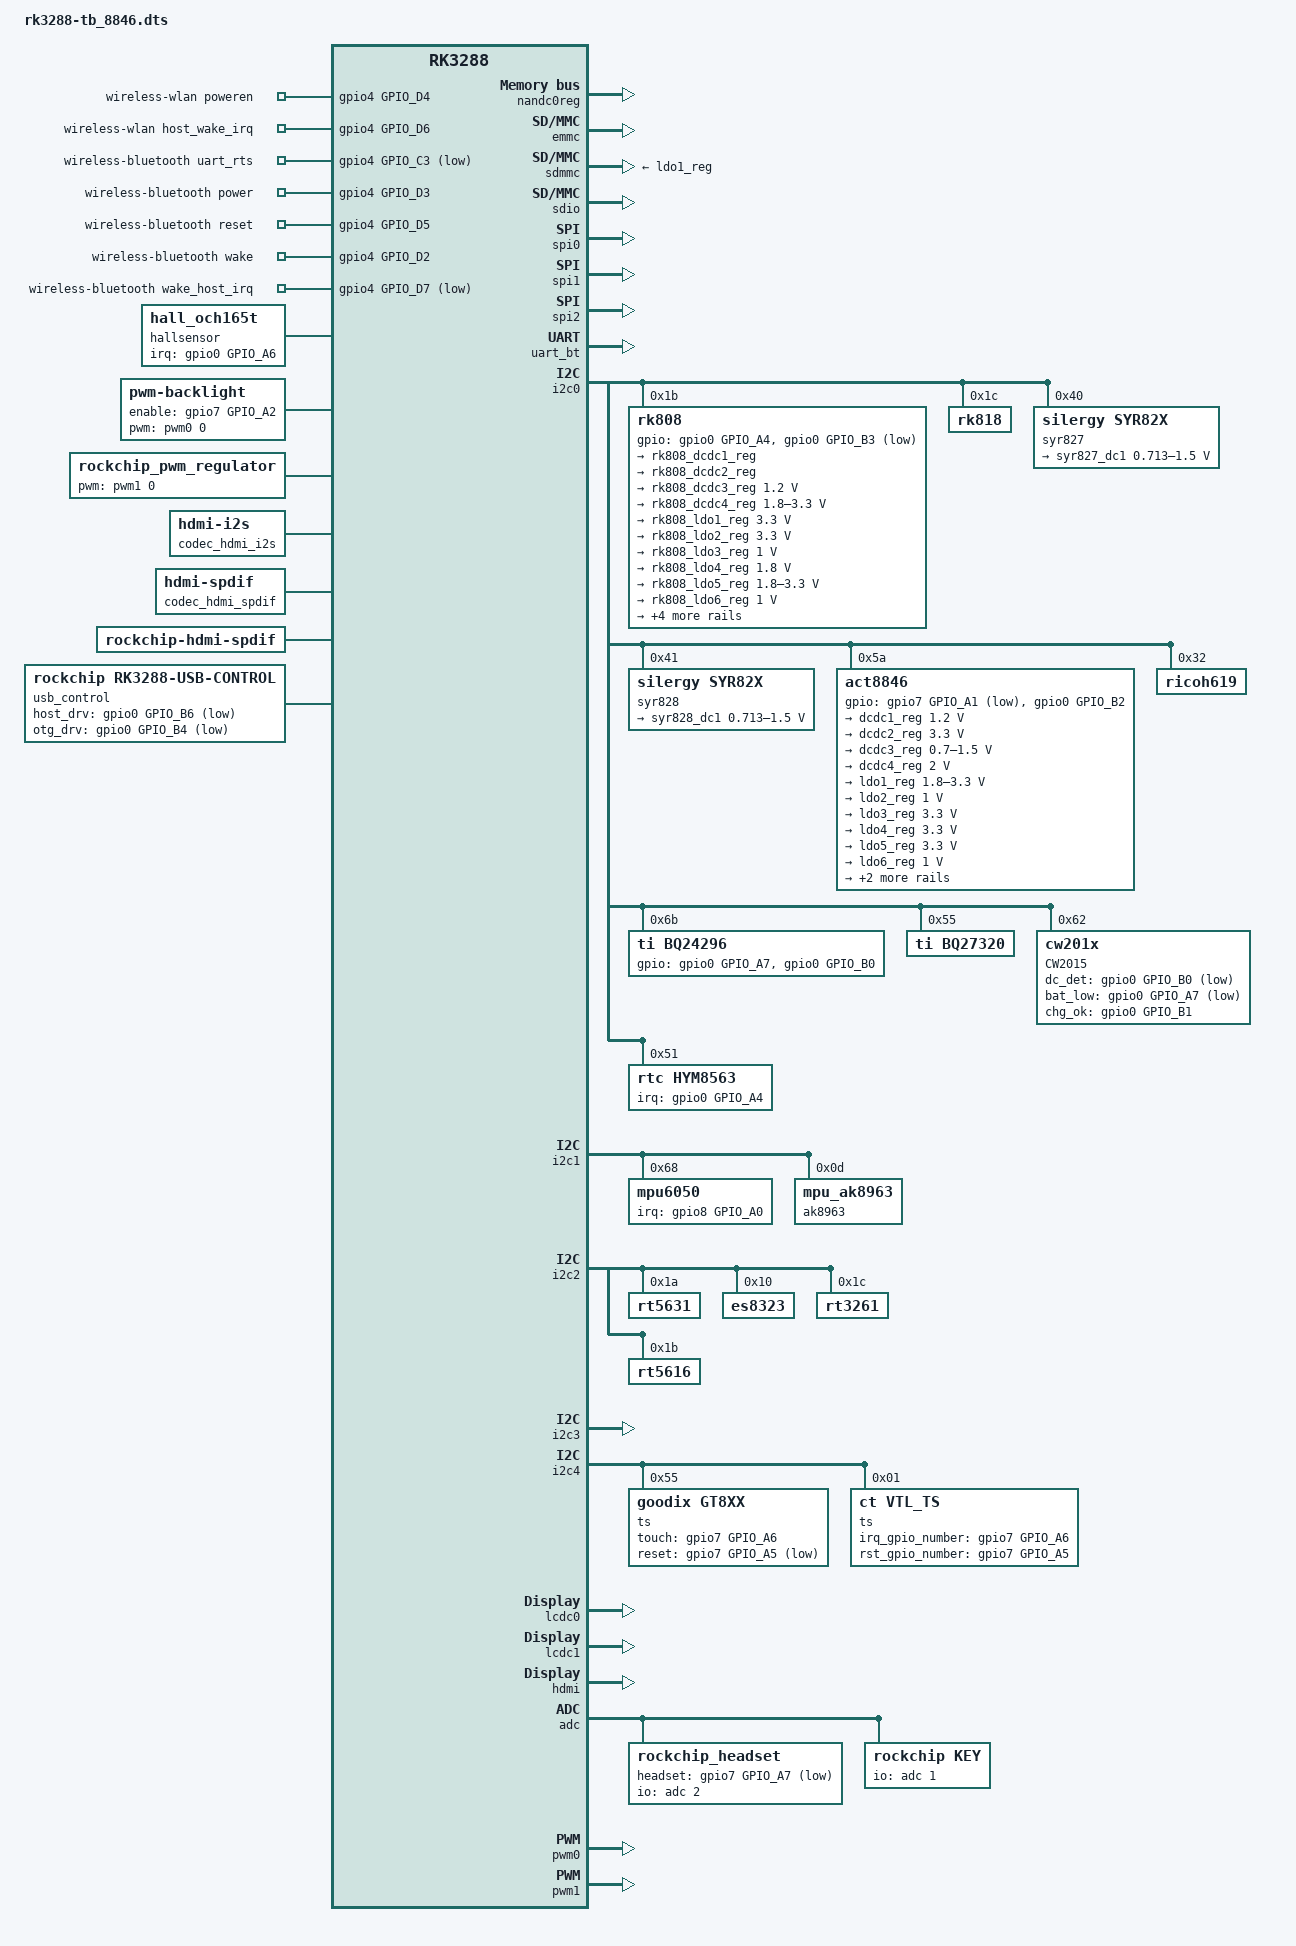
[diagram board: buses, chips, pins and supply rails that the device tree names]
/dts-v1/;

#include "rk3288.dtsi"
//#include "lcd-b101ew05.dtsi"
#include "lcd-F402.dtsi"
/ {
	fiq-debugger {
		status = "okay";
	};

    wireless-wlan {
        compatible = "wlan-platdata";

        wifi_chip_type = "";
        sdio_vref = <1800>; //1800mv or 3300mv

        //power_ctrl_by_pmu;
        power_pmu_regulator = "act_ldo3";
        power_pmu_enable_level = <1>; //1->HIGH, 0->LOW

        //vref_ctrl_enable;
        //vref_ctrl_gpio = <&gpio0 GPIO_A2 GPIO_ACTIVE_HIGH>;
        vref_pmu_regulator = "act_ldo3";
        vref_pmu_enable_level = <1>; //1->HIGH, 0->LOW

        WIFI,poweren_gpio = <&gpio4 GPIO_D4 GPIO_ACTIVE_HIGH>;
        WIFI,host_wake_irq = <&gpio4 GPIO_D6 GPIO_ACTIVE_HIGH>;
        //WIFI,reset_gpio = <&gpio0 GPIO_A2 GPIO_ACTIVE_LOW>;

        status = "okay";
    };

    wireless-bluetooth {
        compatible = "bluetooth-platdata";

        //wifi-bt-power-toggle;

        uart_rts_gpios = <&gpio4 GPIO_C3 GPIO_ACTIVE_LOW>;
        pinctrl-names = "default","rts_gpio";
        pinctrl-0 = <&uart0_rts>;
        pinctrl-1 = <&uart0_rts_gpio>;

        BT,power_gpio = <&gpio4 GPIO_D3 GPIO_ACTIVE_HIGH>;
        BT,reset_gpio = <&gpio4 GPIO_D5 GPIO_ACTIVE_HIGH>;
        BT,wake_gpio = <&gpio4 GPIO_D2 GPIO_ACTIVE_HIGH>;
        BT,wake_host_irq = <&gpio4 GPIO_D7 GPIO_ACTIVE_LOW>;

        status = "okay";
    };

    hallsensor {
               compatible = "hall_och165t";
               type = <SENSOR_TYPE_HALL>;
               irq-gpio = <&gpio0 GPIO_A6 IRQ_TYPE_EDGE_BOTH>;
     };

	backlight {
		compatible = "pwm-backlight";
		pwms = <&pwm0 0 25000>;
		brightness-levels = <255 254 253 252 251 250 249 248 247 246 245 244 243 242 241 240
		     239 238 237 236 235 234 233 232 231 230 229 228 227 226 225 224 223 222 221 220
		     219 218 217 216 215 214 213 212 211 210 209 208 207 206 205 204 203 202 201 200
		     199 198 197 196 195 194 193 192 191 190 189 188 187 186 185 184 183 182 181 180
		     179 178 177 176 175 174 173 172 171 170 169 168 167 166 165 164 163 162 161 160
		     159 158 157 156 155 154 153 152 151 150 149 148 147 146 145 144 143 142 141 140
		     139 138 137 136 135 134 133 132 131 130 129 128 127 126 125 124 123 122 121 120
		     119 118 117 116 115 114 113 112 111 110 109 108 107 106 105 104 103 102 101 100
		     99 98 97 96 95 94 93 92 91 90 89 88 87 86 85 84 83 82 81 80 79 78 77 76 75 74 73 72 71 70
		     69 68 67 66 65 64 63 62 61 60 59 58 57 56 55 54 53 52 51 50 49 48 47 46 45 44 43 42 41 40
		     39 38 37 36 35 34 33 32 31 30 29 28 27 26 25 24 23 22 21 20 19 18 17 16 15 14 13 12 11 10
		     9 8 7 6 5 4 3 2 1 0>;
		default-brightness-level = <200>;
		enable-gpios = <&gpio7 GPIO_A2 GPIO_ACTIVE_HIGH>;
	};

	pwm_regulator {
		compatible = "rockchip_pwm_regulator";
		pwms = <&pwm1 0 2000>;
		rockchip,pwm_id= <1>;
		rockchip,pwm_voltage_map= <925000 950000 975000 1000000 1025000 1050000 1075000 1100000 1125000 1150000 1175000 1200000 1225000 1250000 1275000 1300000 1325000 1350000 1375000 1400000>;
		rockchip,pwm_voltage= <1000000>;
		rockchip,pwm_min_voltage= <925000>;
		rockchip,pwm_max_voltage= <1400000>;
		rockchip,pwm_suspend_voltage= <950000>;
		rockchip,pwm_coefficient= <475>;
		regulators {
			#address-cells = <1>;
			#size-cells = <0>;
			pwm_reg0: regulator@0 {
				regulator-compatible = "pwm_dcdc1";
				regulator-name= "vdd_logic";
				regulator-min-microvolt = <925000>;
				regulator-max-microvolt = <1400000>;
				regulator-always-on;
				regulator-boot-on;
			};
		};
	};

	codec_hdmi_i2s: codec-hdmi-i2s {
		compatible = "hdmi-i2s";
	};

	codec_hdmi_spdif: codec-hdmi-spdif {
		compatible = "hdmi-spdif";
	};

	rockchip-hdmi-i2s {
		compatible = "rockchip-hdmi-i2s";
		dais {
			dai0 {
				audio-codec = <&codec_hdmi_i2s>;
				i2s-controller = <&i2s>;
				format = "i2s";
				//continuous-clock;
				//bitclock-inversion;
				//frame-inversion;
				//bitclock-master;
				//frame-master;
			};
		};
	};
	
	rockchip-hdmi-spdif {
		compatible = "rockchip-hdmi-spdif";
		dais {
			dai0 {
				audio-codec = <&codec_hdmi_spdif>;
				i2s-controller = <&spdif>;
			};
		};
	};

	rockchip-rt5631 {
		compatible = "rockchip-rt5631";
		dais {
			dai0 {
				audio-codec = <&rt5631>;
				i2s-controller = <&i2s>;
				format = "i2s";
				//continuous-clock;
				//bitclock-inversion;
				//frame-inversion;
				//bitclock-master;
				//frame-master;
			};
		};
	};

	rockchip-rt3224 {
		compatible = "rockchip-rt3261";
		dais {
			dai0 {
				audio-codec = <&rt3261>;
				i2s-controller = <&i2s>;
				format = "i2s";
				//continuous-clock;
				//bitclock-inversion;
				//frame-inversion;
				//bitclock-master;
				//frame-master;
			};
			dai1 {
				audio-codec = <&rt3261>;
				i2s-controller = <&i2s>;
				format = "dsp_a";
				//continuous-clock;
				bitclock-inversion;
				//frame-inversion;
				//bitclock-master;
				//frame-master;
			};
		};
	};

	usb_control {
		compatible = "rockchip,rk3288-usb-control";

		host_drv_gpio = <&gpio0 GPIO_B6 GPIO_ACTIVE_LOW>;
		otg_drv_gpio = <&gpio0 GPIO_B4 GPIO_ACTIVE_LOW>;

		rockchip,remote_wakeup;
		rockchip,usb_irq_wakeup;
	};
};

&gmac {
//	power_ctl_by = "gpio";	//"gpio" "pmu"
	power-gpio = <&gpio0 GPIO_A6 GPIO_ACTIVE_HIGH>;
//	power-pmu = "act_ldo"
//	reset-gpio = <&gpio4 GPIO_A7 GPIO_ACTIVE_LOW>;
};

&pinctrl {
	//used for init some gpio
	init-gpios = <&gpio0 GPIO_A6 GPIO_ACTIVE_HIGH
			/*&gpio0 GPIO_C2 GPIO_ACTIVE_HIGH */
			/*&gpio7 GPIO_B7 GPIO_ACTIVE_LOW */>;
	
	gpio0_gpio {
			gpio0_c2: gpio0-c2 {
				rockchip,pins = <GPIO0_C2>;
				rockchip,pull = <VALUE_PULL_DOWN>;
			};

			//to add
		};
		
	gpio7_gpio {
			gpio7_a7: gpio7-a7 {
				rockchip,pins = <GPIO7_A7>;
				rockchip,pull = <VALUE_PULL_DOWN>;
			};

			//to add
		};
		
	//could add other pinctrl definition such as gpio

};

&nandc0 {
	status = "disabled"; // used nand set "disabled" ,used emmc set "okay"
};
&nandc1 {
	status = "disabled"; // used nand set "disabled" ,used emmc set "okay"
};   

&nandc0reg {
	status = "okay"; // used nand set "disabled" ,used emmc set "okay"
};

&emmc {
	clock-frequency = <100000000>;
	clock-freq-min-max = <400000 100000000>;

        supports-highspeed;
	supports-emmc;
        bootpart-no-access;

	//supports-DDR_MODE; //you should set the two value in your project. only close in RK3288-SDK board.
	//caps2-mmc-hs200;

        ignore-pm-notify;
	keep-power-in-suspend;
	
	//poll-hw-reset 
	status = "okay";
};
    
&sdmmc {
		clock-frequency = <50000000>;
		clock-freq-min-max = <400000 50000000>;
		supports-highspeed;
		supports-sd;
		broken-cd;
		card-detect-delay = <200>;

		ignore-pm-notify;
        	keep-power-in-suspend;
	
        	vmmc-supply = <&ldo1_reg>;
		status = "okay";
};
		
&sdio {
		clock-frequency = <50000000>;
		clock-freq-min-max = <200000 50000000>;
		supports-highspeed;
		supports-sdio;
		ignore-pm-notify;
		keep-power-in-suspend;
		//cap-sdio-irq;
		status = "okay";
};

&spi0 {
	status = "okay";
	max-freq = <48000000>;	
	/*
	spi_test@00 {
     		compatible = "rockchip,spi_test_bus0_cs0";
                reg = <0>;
                spi-max-frequency = <24000000>;
                //spi-cpha;
		//spi-cpol;
                poll_mode = <0>;
	        type = <0>;
		enable_dma = <0>;

	};

	spi_test@01 {
	        compatible = "rockchip,spi_test_bus0_cs1";
	        reg = <1>;
	        spi-max-frequency = <24000000>;
	        spi-cpha;
		spi-cpol;
	        poll_mode = <0>;
	        type = <0>;
		enable_dma = <0>;	        
	};
	*/
};

&spi1 {
	status = "okay";
	max-freq = <48000000>;
	/*
	spi_test@10 {
	        compatible = "rockchip,spi_test_bus1_cs0";
	        reg = <0>;
	        spi-max-frequency = <24000000>;
	        //spi-cpha;
		//spi-cpol;
	        poll_mode = <0>;
	        type = <0>;
		enable_dma = <0>;
	};

	*/
};

&spi2 {
	status = "okay";
	max-freq = <48000000>;
	/*
	spi_test@20 {
	        compatible = "rockchip,spi_test_bus2_cs0";
	        reg = <0>;
	        spi-max-frequency = <24000000>;
	        //spi-cpha;
		//spi-cpol;
	        poll_mode = <0>;
	        type = <0>;
		enable_dma = <0>;
	};

	spi_test@21 {
	        compatible = "rockchip,spi_test_bus2_cs1";
	        reg = <1>;
	        spi-max-frequency = <24000000>;
	        //spi-cpha;
		//spi-cpol;
	        poll_mode = <0>;
	        type = <0>;
		enable_dma = <0>;
	};
	*/
};

&uart_bt {
        status = "okay";
        dma-names = "!tx", "!rx";
        pinctrl-0 = <&uart0_xfer &uart0_cts>;
};

&i2c0 {
	status = "okay";
	rk808: rk808@1b {
		reg = <0x1b>;
		status = "okay";
	};
	rk818: rk818@1c {
		reg = <0x1c>;
		status = "okay";
 	};
		syr827: syr827@40 {
		compatible = "silergy,syr82x";
  	reg = <0x40>;
		status = "okay";
		regulators {
			#address-cells = <1>;
			#size-cells = <0>;	
			syr827_dc1: regulator@0 {
			reg = <0>;
			regulator-compatible = "syr82x_dcdc1";
			regulator-name = "vdd_arm";
			regulator-min-microvolt = <712500>;
			regulator-max-microvolt = <1500000>;
			regulator-always-on;
			regulator-boot-on;
			regulator-initial-mode = <0x2>;
			regulator-initial-state = <3>;
			regulator-state-mem {
				regulator-state-mode = <0x2>;
				regulator-state-disabled;
				regulator-state-uv = <900000>;
			};
		};
	   };
	};
	syr828: syr828@41 {
		compatible = "silergy,syr82x";
		reg = <0x41>;
		status = "okay";
		regulators {
			#address-cells = <1>;
			#size-cells = <0>;	
			syr828_dc1: regulator@0 {
			reg = <0>;
			regulator-compatible = "syr82x_dcdc1";
			regulator-name = "vdd_gpu";
			regulator-min-microvolt = <712500>;
			regulator-max-microvolt = <1500000>;
			regulator-always-on;
  		regulator-boot-on;
			regulator-initial-mode = <0x2>;
			regulator-initial-state = <3>;
			regulator-state-mem {
				regulator-state-mode = <0x2>;
				regulator-state-enabled;
				regulator-state-uv = <900000>;
			};	
		};
	   };
	};
	act8846: act8846@5a {
		reg = <0x5a>;
		status = "okay";
	};

	ricoh619: ricoh619@32 {
		reg = <0x32>;
 		status = "okay";
 	};
	bq24296: bq24296@6b {
		compatible = "ti,bq24296";
		reg = <0x6b>;
		gpios = <&gpio0 GPIO_A7 GPIO_ACTIVE_HIGH>,<&gpio0 GPIO_B0 GPIO_ACTIVE_HIGH>;
		bq24296,chg_current = <1000 2000 3000>;
		status = "okay";
	};
	
	bq27320: bq27320@55 {
		compatible = "ti,bq27320";
		reg = <0x55>;
	/*   gpios = <&gpio0 GPIO_A7 GPIO_ACTIVE_HIGH>; */
		status = "okay";
	};

	CW2015@62 {
		compatible = "cw201x";
		reg = <0x62>;
		dc_det_gpio = <&gpio0 GPIO_B0 GPIO_ACTIVE_LOW>;
		bat_low_gpio = <&gpio0 GPIO_A7 GPIO_ACTIVE_LOW>;
		chg_ok_gpio = <&gpio0 GPIO_B1 GPIO_ACTIVE_HIGH>;
		bat_config_info = <0x15 0x42 0x60 0x59 0x52 0x58 0x4D 0x48 0x48 0x44 0x44 0x46 0x49 0x48 0x32
			0x24 0x20 0x17 0x13 0x0F 0x19 0x3E 0x51 0x45 0x08 0x76 0x0B 0x85 0x0E 0x1C 0x2E 0x3E 0x4D 0x52 0x52
			0x57 0x3D 0x1B 0x6A 0x2D 0x25 0x43 0x52 0x87 0x8F 0x91 0x94 0x52 0x82 0x8C 0x92 0x96 0xFF 0x7B 0xBB
			0xCB 0x2F 0x7D 0x72 0xA5 0xB5 0xC1 0x46 0xAE>;
		is_dc_charge = <1>;
		is_usb_charge = <0>;
	};
	
	rtc@51 {
		compatible = "rtc,hym8563";
		reg = <0x51>;
		irq_gpio = <&gpio0 GPIO_A4 IRQ_TYPE_EDGE_FALLING>;
	};

};

&i2c1 {
	status = "okay";
	 	
	mpu6050:mpu@68{
		compatible = "mpu6050";
		reg = <0x68>;
		mpu-int_config = <0x10>;
		mpu-level_shifter = <0>;
		mpu-orientation = <0 1 0 1 0 0 0 0 1>;	
		orientation-x= <0>;
		orientation-y= <1>;
		orientation-z= <1>;
		irq-gpio = <&gpio8 GPIO_A0 IRQ_TYPE_LEVEL_LOW>;			
		mpu-debug = <0>;
	};
	

	ak8963:compass@0d{
		compatible = "mpu_ak8963";
		reg = <0x0d>;
		compass-bus = <0>;
		compass-adapt_num = <0>;
		compass-orientation = <1 0 0 0 1 0 0 0 1>;
		orientation-x= <0>;
		orientation-y= <0>;
		orientation-z= <1>;	
		compass-debug = <1>;
		status = "okay";
	};	

};

&i2c2 {
	status = "okay";
	rt5631: rt5631@1a {
		compatible = "rt5631";
		reg = <0x1a>;
	};
	es8323: es8323@10 {
		compatible = "es8323";
		reg = <0x10>;
	};
	rt3261: rt3261@1c {
		compatible = "rt3261";
		reg = <0x1c>;
	//	codec-en-gpio = <0>;//sdk default high level
		spk-num= <2>;
		modem-input-mode = <1>;
		lout-to-modem_mode = <1>;
		spk-amplify = <2>;
		playback-if1-data_control = <0>;
		playback-if2-data_control = <0>;
	};
	rt5616: rt5616@1b {
		compatible = "rt5616";
		reg = <0x1b>;
	};
};

&i2c3 {
	status = "okay";
};

&i2c4 {
	status = "okay";
	ts@55 {
		compatible = "goodix,gt8xx";
		reg = <0x55>;
		touch-gpio = <&gpio7 GPIO_A6 IRQ_TYPE_LEVEL_LOW>;
		reset-gpio = <&gpio7 GPIO_A5 GPIO_ACTIVE_LOW>;
		//power-gpio = <&gpio0 GPIO_C5 GPIO_ACTIVE_LOW>;
		max-x = <1280>;
		max-y = <800>;
	};
	
	ts@01 {
		compatible = "ct,vtl_ts";
		reg = <0x01>;
		screen_max_x = <1536>;
		screen_max_y = <2048>;
		irq_gpio_number = <&gpio7 GPIO_A6 IRQ_TYPE_LEVEL_LOW>;
		rst_gpio_number = <&gpio7 GPIO_A5 GPIO_ACTIVE_HIGH>;
	};
};

&i2c5 {
	status = "disable";
};

&fb {
	rockchip,disp-mode = <DUAL>;
	rockchip,uboot-logo-on = <1>;
};

&rk_screen {
	 display-timings = <&disp_timings>;
};

/*lcdc0 as PRMRY(LCD),lcdc1 as EXTEND(HDMI)*/
&lcdc0 {
	status = "okay";
	rockchip,mirror = <NO_MIRROR>;
	rockchip,cabc_mode = <0>;
	power_ctr: power_ctr {
		rockchip,debug = <0>;
		lcd_en:lcd_en {
			rockchip,power_type = <GPIO>;
			gpios = <&gpio7 GPIO_A3 GPIO_ACTIVE_HIGH>;
			rockchip,delay = <10>;
		};
		
		lcd_cs:lcd_cs {
			rockchip,power_type = <GPIO>;
			gpios = <&gpio7 GPIO_A4 GPIO_ACTIVE_HIGH>;
			rockchip,delay = <10>;
		};

		/*lcd_rst:lcd_rst {
			rockchip,power_type = <GPIO>;
			gpios = <&gpio3 GPIO_D6 GPIO_ACTIVE_HIGH>;
			rockchip,delay = <5>;
		};*/

	};
};

&lcdc1 {
	status = "okay";
	rockchip,mirror = <ROTATE_270>;

};

&hdmi {
	status = "okay";
	rockchips,hdmi_audio_source = <0>;
};

&adc {
	status = "okay";

	rockchip_headset {
		compatible = "rockchip_headset";
		headset_gpio = <&gpio7 GPIO_A7 GPIO_ACTIVE_LOW>;
		pinctrl-names = "default";
		pinctrl-0 = <&gpio7_a7>;
		io-channels = <&adc 2>; 
       /*
               hook_gpio = ;
               hook_down_type = ; //interrupt hook key down status 
		*/       
       };

	key {
		compatible = "rockchip,key";
		io-channels = <&adc 1>;

		vol-up-key {
			linux,code = <115>;
			label = "volume up";
			rockchip,adc_value = <1>;
		};

		vol-down-key {
			linux,code = <114>;
			label = "volume down";
			rockchip,adc_value = <170>;
		};
		
		power-key {
			gpios = <&gpio0 GPIO_A5 GPIO_ACTIVE_LOW>;
			linux,code = <116>;
			label = "power";
			gpio-key,wakeup;
		};

		menu-key {
			linux,code = <59>;
			label = "menu";
			rockchip,adc_value = <355>;
		};

		home-key {
			linux,code = <102>;
			label = "home";
			rockchip,adc_value = <746>;
		};

		back-key {
			linux,code = <158>;
			label = "back";
			rockchip,adc_value = <560>;
		};

		camera-key {
			linux,code = <212>;
			label = "camera";
			rockchip,adc_value = <450>;
		};
	};
};

&pwm0 {
        status = "okay";
};

&pwm1 {
	status = "okay";
};


&clk_core_dvfs_table {
	operating-points = <
		/* KHz    uV */
		126000 900000
		216000 900000
		312000 900000
		408000 900000
		600000 900000
		696000 950000
		816000 1000000
		1008000 1050000
		1200000 1100000
		1416000 1200000
		1512000 1300000
		1608000 1350000
	//	1704000 1350000
	//	1800000 1400000
		>;
	status="okay";
};

&clk_gpu_dvfs_table {
	operating-points = <
		/* KHz    uV */
		100000 900000
		200000 900000
		300000 950000
		420000 1050000
		500000 1150000
		>;
	status="okay";
};

&clk_ddr_dvfs_table {
	operating-points = <
		/* KHz    uV */
		200000 1050000
		300000 1050000
		400000 1100000
		533000 1150000
		>;

	freq-table = <
		/*status		freq(KHz)*/
		SYS_STATUS_NORMAL	400000
		SYS_STATUS_SUSPEND	200000
		SYS_STATUS_VIDEO_1080P  240000
		SYS_STATUS_VIDEO_4K     400000
		SYS_STATUS_PERFORMANCE  528000
		SYS_STATUS_DUALVIEW	400000
		SYS_STATUS_BOOST	324000
		SYS_STATUS_ISP		400000
		>;
	auto-freq-table = <
		240000
		324000
		396000
		528000
		>;
	auto-freq=<1>;
	status="okay";
};
/include/ "act8846.dtsi"
&act8846 {
	gpios =<&gpio7 GPIO_A1 GPIO_ACTIVE_LOW>,<&gpio0 GPIO_B2 GPIO_ACTIVE_HIGH>;
	act8846,system-power-controller;

	regulators {
		
		dcdc1_reg: regulator@0{
			regulator-name= "act_dcdc1";
			regulator-min-microvolt = <1200000>;
			regulator-max-microvolt = <1200000>;
			regulator-always-on;
			regulator-boot-on;
		};

		dcdc2_reg: regulator@1 {
			regulator-name= "vccio";
			regulator-min-microvolt = <3300000>;
			regulator-max-microvolt = <3300000>;
			regulator-initial-state = <3>;
			regulator-state-mem {
				regulator-state-enabled;
				regulator-state-uv = <3300000>;
			};		
		};

		dcdc3_reg: regulator@2 {
			regulator-name= "vdd_logic";
			regulator-min-microvolt = <700000>;
			regulator-max-microvolt = <1500000>;
			regulator-initial-state = <3>;
			regulator-state-mem {
				regulator-state-enabled;
				regulator-state-uv = <1000000>;
			};		
		
		};

		dcdc4_reg: regulator@3 {
			regulator-name= "act_dcdc4";
			regulator-min-microvolt = <2000000>;
			regulator-max-microvolt = <2000000>;
				regulator-initial-state = <3>;
			regulator-state-mem {
				regulator-state-enabled;
				regulator-state-uv = <2000000>;
			};
		};

		ldo1_reg: regulator@4 {
			regulator-name= "vccio_sd";
			regulator-min-microvolt = <1800000>;
			regulator-max-microvolt = <3300000>;
			
		};

		ldo2_reg: regulator@5 {
			regulator-name= "act_ldo2";
			regulator-min-microvolt = <1000000>;
			regulator-max-microvolt = <1000000>;
		
		};

		ldo3_reg: regulator@6 {
			regulator-name= "act_ldo3";
			regulator-min-microvolt = <3300000>;
			regulator-max-microvolt = <3300000>;
			
		};

		ldo4_reg:regulator@7 {
			regulator-name= "act_ldo4";
			regulator-min-microvolt = <3300000>;
			regulator-max-microvolt = <3300000>;
		
		};

		ldo5_reg: regulator@8 {
			regulator-name= "act_ldo5";
			regulator-min-microvolt = <3300000>;
			regulator-max-microvolt = <3300000>;
		
		};

		ldo6_reg: regulator@9 {
			regulator-name= "act_ldo6";
			regulator-min-microvolt = <1000000>;
			regulator-max-microvolt = <1000000>;
			regulator-initial-state = <3>;
			regulator-state-mem {
				regulator-state-enabled;
			};
			
		};

		ldo7_reg: regulator@10 {
			regulator-name= "vcc_18";
			regulator-min-microvolt = <1800000>;
			regulator-max-microvolt = <1800000>;
			regulator-initial-state = <3>;
			regulator-state-mem {
				regulator-state-enabled;
			};
		
		};

		ldo8_reg: regulator@11 {
			regulator-name= "act_ldo8";
			regulator-min-microvolt = <1800000>;
			regulator-max-microvolt = <1800000>;
		
		};
	};
};


/include/ "rk808.dtsi"
&rk808 {
	gpios =<&gpio0 GPIO_A4 GPIO_ACTIVE_HIGH>,<&gpio0 GPIO_B3 GPIO_ACTIVE_LOW>;
	rk808,system-power-controller;

	regulators {
		
		rk808_dcdc1_reg: regulator@0{
			regulator-name= "vdd_arm";
			regulator-always-on;
			regulator-boot-on;
		};

		rk808_dcdc2_reg: regulator@1 {
			regulator-name= "vdd_gpu";
			regulator-always-on;
			regulator-boot-on;
		};

		rk808_dcdc3_reg: regulator@2 {
			regulator-name= "rk_dcdc3";
			regulator-min-microvolt = <1200000>;
			regulator-max-microvolt = <1200000>;
			regulator-always-on;
			regulator-boot-on;
		};

		rk808_dcdc4_reg: regulator@3 {
			regulator-name= "vccio";
			regulator-min-microvolt = <1800000>;
			regulator-max-microvolt = <3300000>;
			regulator-always-on;
			regulator-boot-on;
		};

		rk808_ldo1_reg: regulator@4 {
			regulator-name= "rk_ldo1";
			regulator-min-microvolt = <3300000>;
			regulator-max-microvolt = <3300000>;
			regulator-always-on;
			regulator-boot-on;
		};

		rk808_ldo2_reg: regulator@5 {
			regulator-name= "rk_ldo2";
			regulator-min-microvolt = <3300000>;
			regulator-max-microvolt = <3300000>;
			regulator-always-on;
			regulator-boot-on;
		};

		rk808_ldo3_reg: regulator@6 {
			regulator-name= "rk_ldo3";
			regulator-min-microvolt = <1000000>;
			regulator-max-microvolt = <1000000>;
			regulator-always-on;
			regulator-boot-on;
		};

		rk808_ldo4_reg:regulator@7 {
			regulator-name= "rk_ldo4";
			regulator-min-microvolt = <1800000>;
			regulator-max-microvolt = <1800000>;
			regulator-always-on;
			regulator-boot-on;
		};

		rk808_ldo5_reg: regulator@8 {
			regulator-name= "vcc_sd";
			regulator-min-microvolt = <1800000>;
			regulator-max-microvolt = <3300000>;
			regulator-always-on;
			regulator-boot-on;
		};

		rk808_ldo6_reg: regulator@9 {
			regulator-name= "rk_ldo6";
			regulator-min-microvolt = <1000000>;
			regulator-max-microvolt = <1000000>;
			regulator-always-on;
			regulator-boot-on;
		};

		rk808_ldo7_reg: regulator@10 {
			regulator-name= "rk_ldo7";
			regulator-min-microvolt = <1800000>;
			regulator-max-microvolt = <1800000>;
			regulator-always-on;
			regulator-boot-on;
		};

		rk808_ldo8_reg: regulator@11 {
			regulator-name= "rk_ldo8";
			regulator-min-microvolt = <3300000>;
			regulator-max-microvolt = <3300000>;
			regulator-always-on;
			regulator-boot-on;
		};

		rk808_ldo9_reg: regulator@12 {
			regulator-name= "rk_ldo9";
			regulator-always-on;
			regulator-boot-on;
		};

		rk808_ldo10_reg: regulator@13 {
			regulator-name= "rk_ldo10";
			regulator-always-on;
			regulator-boot-on;
		};
	};
};

&lcdc_vdd_domain {
	regulator-name = "vcc30_lcd";
	};
&dpio_vdd_domain{
	regulator-name = "vcc18_cif";	
	};
&flash0_vdd_domain{
	regulator-name = "vcc_flash";	
	};
&flash1_vdd_domain{
	regulator-name = "vcc_flash";			
	};
&apio3_vdd_domain{
	regulator-name = "vccio_wl";		
	};
&apio5_vdd_domain{
	regulator-name = "vccio";		
	};
&apio4_vdd_domain{
	regulator-name = "vccio";		
	};
&apio1_vdd_domain{
	regulator-name = "vccio";			
	};
&apio2_vdd_domain{
	regulator-name = "vccio";		
	};
&sdmmc0_vdd_domain{
	regulator-name = "vcc_sd";			
	};

&ion_cma {
       reg = <0x40000000 0x28000000>; /* 640MB */
};
